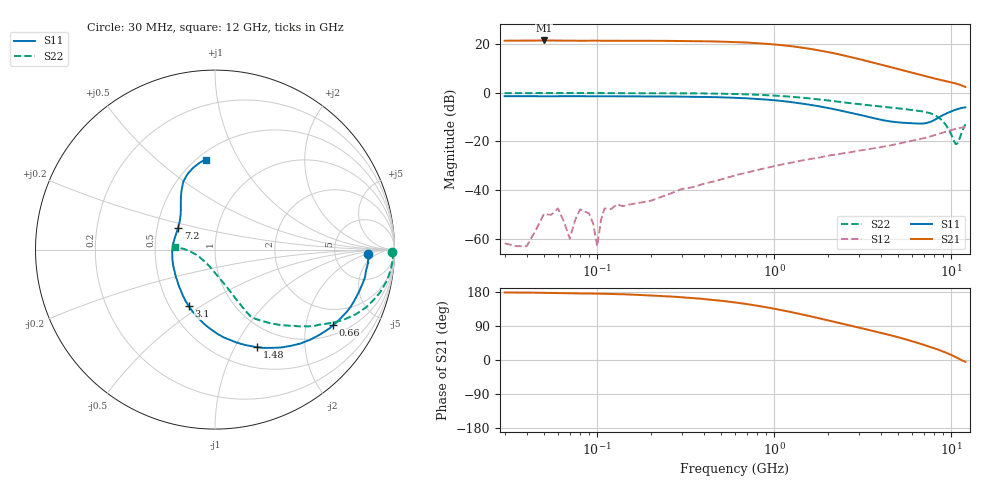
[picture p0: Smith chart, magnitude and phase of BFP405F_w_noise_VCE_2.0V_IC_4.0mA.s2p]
! Infineon Technologies  Discrete & RF Semiconductors
! BFP405F
! VCE =  2.0 V,  IC =  4.0 mA
! Common Emitter S-Parameters:  Nov 2015
# GHz  S  MA  R  50
!  f  S11  S21  S12  S22
! GHz  MAG  ANG  MAG  ANG  MAG  ANG  MAG  ANG
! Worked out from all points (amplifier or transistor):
!   239 points, 30 MHz to 12 GHz, reference 50 ohm
!   highest |S21| = 21.6 dB at 50 MHz (marker M1)
!   |S21| within 3 dB of that: start of sweep to 1.448 GHz
!   unconditionally stable (mu >= 1): 3.146 GHz to end of sweep
!   at 300 MHz: K = 0.12, MSG = 30.5 dB, |S12| = -39.6 dB
!   at 1.88 GHz: K = 0.60, MSG = 21.7 dB, |S12| = -26.3 dB
!   at 12 GHz: K = 1.50, MAG = 4.1 dB, |S12| = -14.0 dB
!   lowest NFmin = 1.20 dB at 450 MHz
!   S11 on the Smith chart (normalised r, x): 30 MHz: 12, -2; 660 MHz: 1.32, -2.86; 1.48 GHz: 0.74, -1.24; 3.1 GHz: 0.62, -0.45; 7.2 GHz: 0.64, +0.17; 12 GHz: 0.55, +0.74
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0.03  0.8553 -1.5  11.87 178.1  0.0008 50.5  0.9883 -0.8
0.04  0.8522 -1.9  11.89 177.9  0.0007 100.9  0.9911 -0.9
0.05  0.8535 -2.8  12.01 177.1  0.0032 -150.3  0.9913 -1.1
0.06  0.8555 -2.8  11.9 176.8  0.0042 140.6  0.9933 -1.4
0.07  0.8571 -3.8  11.91 175.9  0.001 59.1  0.9914 -1.7
0.085  0.8543 -4.4  11.88 175.5  0.0036 90.8  0.9923 -2.1
0.095  0.8562 -4.8  11.88 175.3  0.002 90.7  0.9917 -2.4
0.1  0.858 -4.9  11.85 175.1  0.0007 95.7  0.9916 -2.5
0.11  0.8538 -5.6  11.85 174.6  0.0042 89.6  0.9917 -2.6
0.24  0.8457 -12.2  11.79 168.4  0.0076 91.6  0.9866 -6.1
0.4  0.8263 -20.3  11.59 160.9  0.0135 80.8  0.9757 -9.8
0.6  0.7933 -30.0  11.12 151.8  0.0201 76.2  0.9495 -14.6
0.66  0.7814 -32.7  10.97 149.3  0.0218 74.9  0.9403 -15.9
1.04  0.6968 -49.4  9.808 133.8  0.032 69.2  0.8734 -23.6
1.48  0.5931 -66.5  8.406 119.0  0.0415 63.1  0.7895 -30.5
1.64  0.5594 -72.1  7.928 114.3  0.0444 61.4  0.7604 -32.6
2.2  0.4564 -90.6  6.485 100.3  0.0535 56.4  0.6726 -39.5
3.1  0.3474 -114.9  4.843 84.0  0.0657 52.3  0.5779 -47.0
4.5  0.2605 -148.9  3.423 65.9  0.0827 48.9  0.5026 -54.0
7.2  0.2388 149.3  2.191 38.0  0.1204 42.6  0.4003 -62.7
10.6  0.452 109.1  1.561 7.5  0.1826 27.8  0.0884 -126.0
12  0.504 95.9  1.329 -4.7  0.1988 20.7  0.2258 176.5
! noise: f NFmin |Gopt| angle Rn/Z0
0.45  1.2  0.44  5  0.35
0.9  1.21  0.41  13  0.38
1.5  1.29  0.38  19  0.33
1.9  1.32  0.36  25  0.33
2.4  1.49  0.34  35  0.35
3  1.56  0.32  46  0.32
3.5  1.61  0.31  55  0.29
4.5  1.77  0.24  70  0.26
5.5  2  0.15  83  0.16
